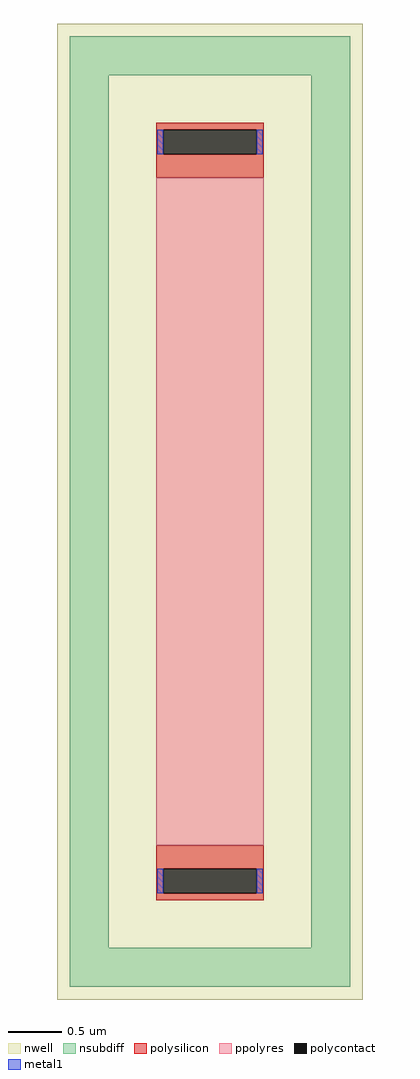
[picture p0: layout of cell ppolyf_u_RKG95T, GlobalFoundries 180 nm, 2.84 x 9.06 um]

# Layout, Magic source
magic
tech gf180mcuC
magscale 1 10
<< nwell >>
rect -284 -906 284 906
<< nsubdiff >>
rect -260 810 260 882
rect -260 -810 -188 810
rect 188 -810 260 810
rect -260 -882 260 -810
<< polysilicon >>
rect -100 709 100 722
rect -100 663 -87 709
rect 87 663 100 709
rect -100 620 100 663
rect -100 -663 100 -620
rect -100 -709 -87 -663
rect 87 -709 100 -663
rect -100 -722 100 -709
<< polycontact >>
rect -87 663 87 709
rect -87 -709 87 -663
<< ppolyres >>
rect -100 -620 100 620
<< metal1 >>
rect -98 663 -87 709
rect 87 663 98 709
rect -98 -709 -87 -663
rect 87 -709 98 -663
<< properties >>
string FIXED_BBOX -224 -846 224 846
string gencell ppolyf_u
string library gf180mcu
string parameters w 1.0 l 6.2 m 1 nx 1 wmin 0.80 lmin 1.00 rho 315 val 2.1k dummy 0 dw 0.07 term 0.0 sterm 0.0 caplen 0.4 snake 0 glc 0 grc 0 gtc 0 gbc 0 roverlap 0 endcov 100 full_metal 0
<< end >>
